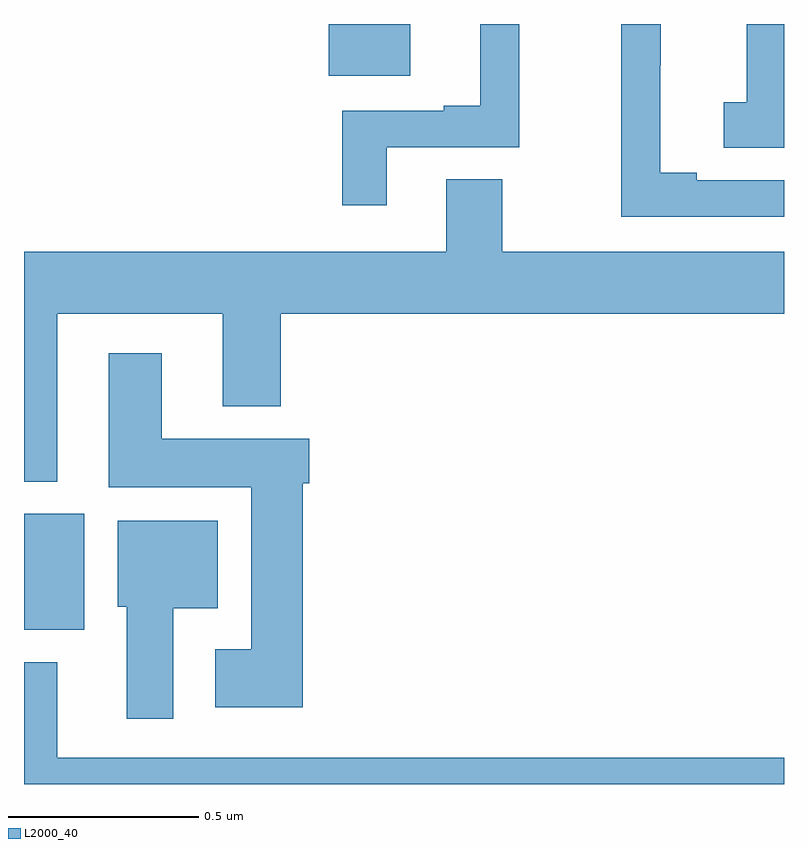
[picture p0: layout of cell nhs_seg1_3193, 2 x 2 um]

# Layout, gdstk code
import gdstk
lib = gdstk.Library(unit=1e-6, precision=1e-09)
def R(c, l, rs):  # rectangles x0, y0, x1, y1
    for r in rs: c.add(gdstk.rectangle(r[:2], r[2:], *l))
def P(c, l, *ps):  # polygons
    for p in ps: c.add(gdstk.Polygon(p, *l))
L2000_40 = (2000, 40)

nhs_seg1_3193 = lib.new_cell('nhs_seg1_3193')
R(nhs_seg1_3193, L2000_40, [(151,513.605,151.159,513.91), (151.802,515.063,152.017,515.199)])
P(nhs_seg1_3193, L2000_40, [(153,514.788),(152.77,514.788),(152.77,514.808),(152.674,514.808),(152.674,515.091),(152.676,515.091),(152.676,515.199),(152.572,515.199),(152.572,514.692),(153,514.692)],
  [(151.954,514.875),(152.303,514.875),(152.303,515.199),(152.201,515.199),(152.201,514.984),(152.105,514.984),(152.105,514.971),(151.837,514.971),(151.837,514.722),(151.954,514.722)],
  [(153,515.199),(152.902,515.199),(152.902,514.993),(152.841,514.993),(152.841,514.873),(153,514.873)],
  [(151.087,514.436),(151.523,514.436),(151.523,514.193),(151.676,514.193),(151.676,514.436),(153,514.436),(153,514.6),(152.259,514.6),(152.259,514.79),(152.111,514.79),(152.111,514.6),(151,514.6),(151,513.995),(151.087,513.995)],
  [(151.733,513.99),(151.751,513.99),(151.751,514.108),(151.363,514.108),(151.363,514.333),(151.223,514.333),(151.223,513.98),(151.598,513.98),(151.598,513.553),(151.503,513.553),(151.503,513.401),(151.733,513.401)],
  [(151.393,513.662),(151.51,513.662),(151.51,513.892),(151.247,513.892),(151.247,513.666),(151.271,513.666),(151.271,513.371),(151.393,513.371)],
  [(153,513.268),(151.087,513.268),(151.087,513.52),(151,513.52),(151,513.199),(153,513.199)])

lib.write_gds('nhs_seg1_3193.gds')
